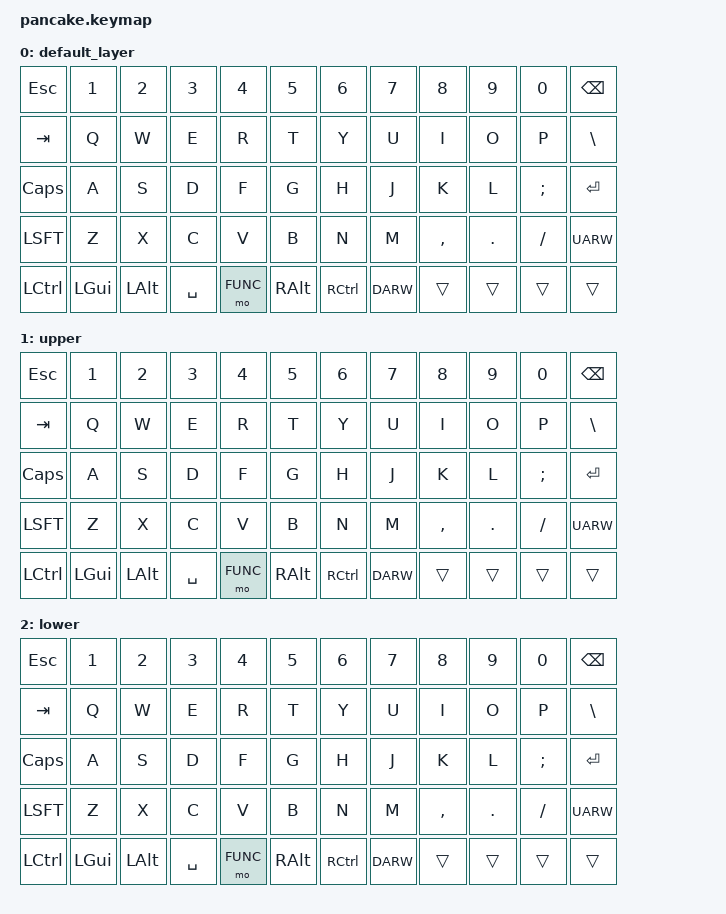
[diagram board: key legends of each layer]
/*
 * Copyright (c) 2020 The ZMK Contributors
 *
 * SPDX-License-Identifier: MIT
 */

#include <behaviors.dtsi>
#include <dt-bindings/zmk/keys.h>
#include <dt-bindings/zmk/bt.h>

#define DEFAULT 0
#define FUNC 1

/ {
    keymap {
        compatible = "zmk,keymap";
        
        default_layer {
            bindings = <
           &kp ESC  &kp NUM_1 &kp NUM_2 &kp NUM_3 &kp NUM_4 &kp NUM_5 &kp NUM_6 &kp NUM_7 &kp NUM_8 &kp NUM_9 &kp NUM_0 &kp BKSP
           &kp TAB  &kp Q     &kp W     &kp E     &kp R     &kp T     &kp Y     &kp U     &kp I     &kp O     &kp P     &kp BSLH  
           &kp CLCK &kp A     &kp S     &kp D     &kp F     &kp G     &kp H     &kp J     &kp K     &kp L     &kp SCLN  &kp RET   
           &kp LSFT &kp Z     &kp X     &kp C     &kp V     &kp B     &kp N     &kp M     &kp CMMA  &kp DOT   &kp FSLH  &kp UARW
           &kp LCTL &kp LGUI  &kp LALT  &kp SPC   &mo FUNC  &kp RALT  &kp RCTL  &kp DARW  &trans    &trans    &trans    &trans
            >;
        };
        upper {
            bindings = <
           &kp ESC  &kp NUM_1 &kp NUM_2 &kp NUM_3 &kp NUM_4 &kp NUM_5 &kp NUM_6 &kp NUM_7 &kp NUM_8 &kp NUM_9 &kp NUM_0 &kp BKSP
           &kp TAB  &kp Q     &kp W     &kp E     &kp R     &kp T     &kp Y     &kp U     &kp I     &kp O     &kp P     &kp BSLH  
           &kp CLCK &kp A     &kp S     &kp D     &kp F     &kp G     &kp H     &kp J     &kp K     &kp L     &kp SCLN  &kp RET   
           &kp LSFT &kp Z     &kp X     &kp C     &kp V     &kp B     &kp N     &kp M     &kp CMMA  &kp DOT   &kp FSLH  &kp UARW
           &kp LCTL &kp LGUI  &kp LALT  &kp SPC   &mo FUNC  &kp RALT  &kp RCTL  &kp DARW  &trans    &trans    &trans    &trans
            >;
        };
		lower {
            bindings = <
           &kp ESC  &kp NUM_1 &kp NUM_2 &kp NUM_3 &kp NUM_4 &kp NUM_5 &kp NUM_6 &kp NUM_7 &kp NUM_8 &kp NUM_9 &kp NUM_0 &kp BKSP
           &kp TAB  &kp Q     &kp W     &kp E     &kp R     &kp T     &kp Y     &kp U     &kp I     &kp O     &kp P     &kp BSLH  
           &kp CLCK &kp A     &kp S     &kp D     &kp F     &kp G     &kp H     &kp J     &kp K     &kp L     &kp SCLN  &kp RET   
           &kp LSFT &kp Z     &kp X     &kp C     &kp V     &kp B     &kp N     &kp M     &kp CMMA  &kp DOT   &kp FSLH  &kp UARW
           &kp LCTL &kp LGUI  &kp LALT  &kp SPC   &mo FUNC  &kp RALT  &kp RCTL  &kp DARW  &trans    &trans    &trans    &trans
            >;
        };
    };
};
